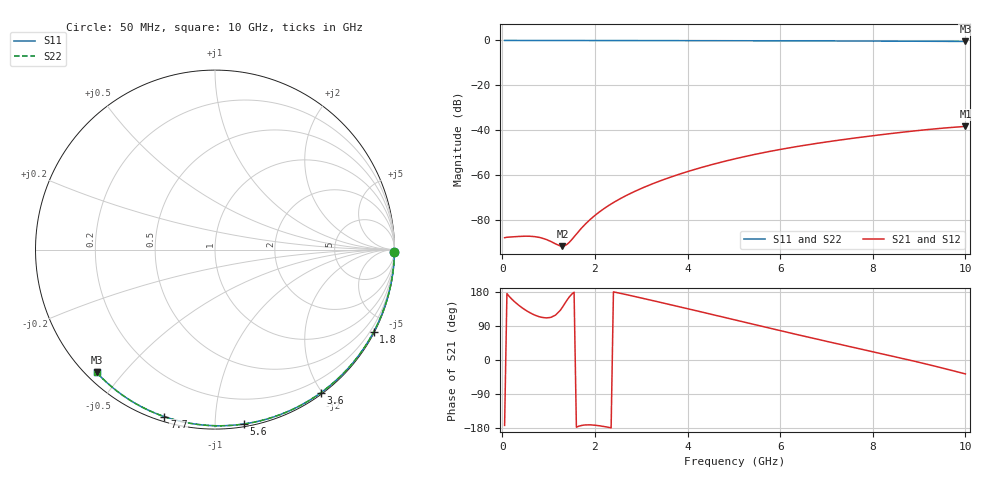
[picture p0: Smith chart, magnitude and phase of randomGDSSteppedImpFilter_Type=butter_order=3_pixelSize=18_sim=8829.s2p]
! freq	dB(S11)	phase(S11)	dB(S12)	phase(S12)
!  dB(S21)	phase(S21)	dB(S22)	phase(S22)
!S-par simulation data
#  GHz  S  DB  R 50
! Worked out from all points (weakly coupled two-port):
!   200 points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, 50 MHz to 10 GHz, reference 50 ohm
!   highest |S21| = -38.34 dB at 10 GHz (marker M1); lowest = -91.7 dB at 1.3 GHz (marker M2)
!   lowest |S11| = -0.4 dB at 10 GHz (marker M3), VSWR 39.41, Z = 1.5 - j21.2 ohm
!   |S11| at or under -10 dB: nowhere
!   |S22| runs from -0.4 to 0.0 dB; largest |S21 - S12| = 0
!   S11 on the Smith chart (normalised r, x): 50 MHz: open; 1.8 GHz: 0.04, -4.10; 3.6 GHz: 0.02, -1.98; 5.6 GHz: 0.02, -1.18; 7.7 GHz: 0.02, -0.74; 10 GHz: 0.03, -0.42
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0.05  -0.00 -0.8  -87.96 -172.6  -87.96 -172.6  -0.00 -0.8
0.65  -0.01 -10.0  -87.38 121.4  -87.38 121.4  -0.01 -10.0
1.3  -0.02 -19.9  -91.74 139.5  -91.74 139.5  -0.02 -19.9
1.75  -0.03 -26.6  -82.82 -171.9  -82.82 -171.9  -0.03 -26.6
1.8  -0.03 -27.4  -81.75 -171.3  -81.75 -171.3  -0.03 -27.4
1.9  -0.04 -28.9  -79.80 -171.2  -79.80 -171.2  -0.04 -28.9
2.05  -0.04 -31.1  -77.20 -172.8  -77.20 -172.8  -0.04 -31.1
2.25  -0.04 -34.1  -74.23 -176.7  -74.23 -176.7  -0.04 -34.1
2.45  -0.05 -37.0  -71.68 178.5  -71.68 178.5  -0.05 -37.0
2.65  -0.05 -39.9  -69.42 173.3  -69.42 173.3  -0.05 -39.9
3  -0.06 -45.0  -66.01 163.7  -66.01 163.7  -0.06 -45.0
3.4  -0.07 -50.7  -62.68 152.5  -62.68 152.5  -0.07 -50.7
3.6  -0.07 -53.5  -61.19 146.9  -61.19 146.9  -0.07 -53.5
4.3  -0.09 -63.3  -56.64 126.8  -56.64 126.8  -0.09 -63.3
5.05  -0.11 -73.4  -52.65 105.1  -52.65 105.1  -0.11 -73.4
5.6  -0.13 -80.6  -50.19 89.1  -50.19 89.1  -0.13 -80.6
6.15  -0.15 -87.7  -48.06 73.2  -48.06 73.2  -0.15 -87.7
6.7  -0.18 -94.6  -46.18 57.7  -46.18 57.7  -0.18 -94.6
7.7  -0.24 -106.9  -43.27 30.2  -43.27 30.2  -0.24 -106.9
8.35  -0.29 -114.7  -41.61 12.3  -41.61 12.3  -0.29 -114.7
9.25  -0.37 -125.3  -39.60 -13.5  -39.60 -13.5  -0.37 -125.3
10  -0.44 -134.0  -38.34 -36.8  -38.34 -36.8  -0.44 -134.0
